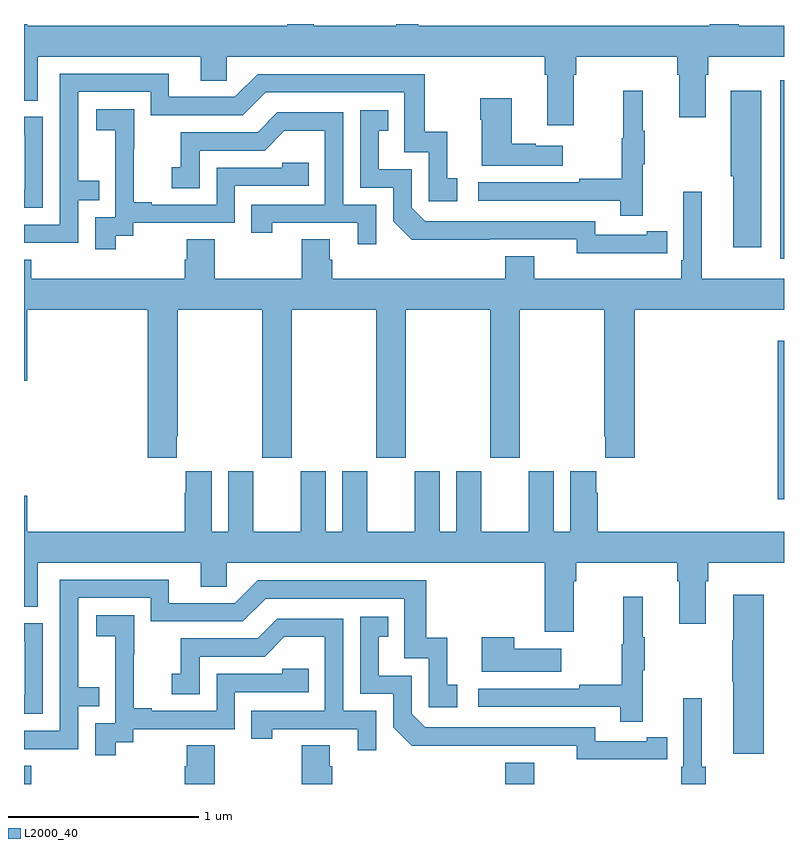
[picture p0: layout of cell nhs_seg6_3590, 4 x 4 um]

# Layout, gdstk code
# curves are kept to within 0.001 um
import gdstk
lib = gdstk.Library(unit=1e-6, precision=1e-09)
def R(c, l, rs):  # rectangles x0, y0, x1, y1
    for r in rs: c.add(gdstk.rectangle(r[:2], r[2:], *l))
def P(c, l, *ps):  # polygons
    for p in ps: c.add(gdstk.Polygon(p, *l))
L2000_40 = (2000, 40)

nhs_seg6_3590 = lib.new_cell('nhs_seg6_3590')
R(nhs_seg6_3590, L2000_40, [(321,951.5,321.038,951.595), (323.534,951.5,323.686,951.613), (324.968,952.998,325,953.833), (324.98,954.264,325,955.204)])
P(nhs_seg6_3590, L2000_40, [(323.893,955.232),(323.906,955.232),(323.906,955.328),(324.437,955.328),(324.437,955.232),(324.449,955.232),(324.449,955.008),(324.589,955.008),(324.589,955.232),(324.602,955.232),(324.602,955.328),(325,955.328),(325,955.492),(324.761,955.492),(324.761,955.5),(324.608,955.5),(324.608,955.492),(323.075,955.492),(323.075,955.5),(322.959,955.5),(322.959,955.492),(322.525,955.492),(322.525,955.5),(322.385,955.5),(322.385,955.492),(321.016,955.492),(321.016,955.5),(321,955.5),(321,955.096),(321.073,955.096),(321.073,955.328),(321.929,955.328),(321.929,955.201),(322.068,955.201),(322.068,955.328),(323.741,955.328),(323.741,955.232),(323.753,955.232),(323.753,954.966),(323.893,954.966)],
  [(321.285,954.573),(321.395,954.573),(321.395,954.674),(321.285,954.674),(321.285,955.143),(321.666,955.143),(321.666,955.02),(322.152,955.02),(322.272,955.14),(323.001,955.14),(323.001,954.825),(323.13,954.825),(323.13,954.567),(323.281,954.567),(323.281,954.687),(323.228,954.687),(323.228,954.934),(323.11,954.934),(323.11,955.236),(322.23,955.236),(322.11,955.116),(321.763,955.116),(321.763,955.239),(321.189,955.239),(321.189,954.444),(321,954.444),(321,954.348),(321.285,954.348)],
  [(324.257,954.763),(324.268,954.763),(324.268,954.937),(324.257,954.937),(324.257,955.15),(324.154,955.15),(324.154,954.9),(324.147,954.9),(324.147,954.686),(323.923,954.686),(323.923,954.666),(323.391,954.666),(323.391,954.57),(324.139,954.57),(324.139,954.492),(324.257,954.492)],
  [(324.88,955.15),(324.719,955.15),(324.719,954.698),(324.734,954.698),(324.734,954.324),(324.88,954.324)],
  [(323.836,954.859),(323.693,954.859),(323.693,954.869),(323.566,954.869),(323.566,955.108),(323.401,955.108),(323.401,954.995),(323.408,954.995),(323.408,954.755),(323.836,954.755)],
  [(321.484,954.385),(321.576,954.385),(321.576,954.453),(322.11,954.453),(322.11,954.648),(322.499,954.648),(322.499,954.771),(322.359,954.771),(322.359,954.744),(322.014,954.744),(322.014,954.549),(321.673,954.549),(321.673,954.562),(321.578,954.562),(321.578,954.845),(321.579,954.845),(321.579,955.051),(321.381,955.051),(321.381,954.941),(321.479,954.941),(321.479,954.713),(321.48,954.713),(321.48,954.483),(321.375,954.483),(321.375,954.315),(321.484,954.315)],
  [(324.278,954.294),(324.386,954.294),(324.386,954.41),(324.278,954.41),(324.278,954.39),(324.006,954.39),(324.006,954.462),(323.112,954.462),(323.04,954.534),(323.04,954.735),(322.867,954.735),(322.867,954.939),(322.916,954.939),(322.916,955.045),(322.77,955.045),(322.77,954.639),(322.944,954.639),(322.944,954.462),(323.042,954.365),(323.91,954.366),(323.91,954.293)],
  [(322.854,954.549),(322.68,954.549),(322.68,955.035),(322.334,955.035),(322.229,954.93),(321.826,954.93),(321.826,954.745),(321.777,954.745),(321.777,954.636),(321.924,954.636),(321.924,954.834),(322.266,954.834),(322.37,954.938),(322.584,954.938),(322.584,954.549),(322.195,954.549),(322.195,954.402),(322.306,954.402),(322.306,954.453),(322.757,954.453),(322.757,954.342),(322.854,954.342)],
  [(321.099,955.011),(321,955.011),(321,954.915),(321.003,954.915),(321.003,954.63),(321,954.63),(321,954.534),(321.099,954.534)],
  [(321.805,953.329),(321.81,953.329),(321.81,953.996),(322.255,953.996),(322.255,953.217),(322.41,953.217),(322.41,953.996),(322.855,953.996),(322.855,953.217),(323.01,953.217),(323.01,953.996),(323.455,953.996),(323.455,953.217),(323.61,953.217),(323.61,953.996),(324.055,953.996),(324.055,953.329),(324.059,953.329),(324.059,953.217),(324.215,953.217),(324.215,953.996),(325,953.996),(325,954.16),(324.568,954.16),(324.568,954.616),(324.471,954.616),(324.471,954.256),(324.458,954.256),(324.458,954.16),(323.686,954.16),(323.686,954.277),(323.534,954.277),(323.534,954.16),(322.622,954.16),(322.622,954.258),(322.609,954.258),(322.609,954.368),(322.462,954.368),(322.462,954.16),(322.005,954.16),(322.005,954.368),(321.857,954.368),(321.857,954.258),(321.845,954.258),(321.845,954.16),(321.038,954.16),(321.038,954.259),(321,954.259),(321,953.622),(321.016,953.622),(321.016,953.996),(321.65,953.996),(321.65,953.217),(321.805,953.217)],
  [(323.893,952.568),(323.906,952.568),(323.906,952.664),(324.437,952.664),(324.437,952.568),(324.449,952.568),(324.449,952.344),(324.589,952.344),(324.589,952.568),(324.602,952.568),(324.602,952.664),(325,952.664),(325,952.828),(324.02,952.828),(324.02,953.033),(324.013,953.033),(324.013,953.146),(323.876,953.146),(323.876,952.828),(323.788,952.828),(323.788,953.146),(323.657,953.146),(323.657,952.828),(323.407,952.828),(323.407,953.146),(323.276,953.146),(323.276,952.828),(323.188,952.828),(323.188,953.146),(323.057,953.146),(323.057,952.828),(322.807,952.828),(322.807,953.146),(322.676,953.146),(322.676,952.828),(322.588,952.828),(322.588,953.146),(322.457,953.146),(322.457,952.828),(322.207,952.828),(322.207,953.146),(322.076,953.146),(322.076,952.828),(321.988,952.828),(321.988,953.146),(321.851,953.146),(321.851,953.033),(321.845,953.033),(321.845,952.828),(321.016,952.828),(321.016,953.017),(321,953.017),(321,952.432),(321.073,952.432),(321.073,952.664),(321.929,952.664),(321.929,952.537),(322.068,952.537),(322.068,952.664),(323.741,952.664),(323.741,952.302),(323.893,952.302)],
  [(321.285,951.909),(321.395,951.909),(321.395,952.01),(321.285,952.01),(321.285,952.479),(321.666,952.479),(321.666,952.356),(322.152,952.356),(322.272,952.476),(323.001,952.476),(323.001,952.161),(323.13,952.161),(323.13,951.903),(323.281,951.903),(323.281,952.023),(323.228,952.023),(323.228,952.27),(323.117,952.27),(323.117,952.572),(322.23,952.572),(322.11,952.452),(321.763,952.452),(321.763,952.575),(321.189,952.575),(321.189,951.78),(321,951.78),(321,951.684),(321.285,951.684)],
  [(324.893,952.495),(324.734,952.495),(324.734,952.256),(324.727,952.256),(324.727,952.039),(324.734,952.039),(324.734,951.66),(324.893,951.66)],
  [(324.257,952.099),(324.268,952.099),(324.268,952.273),(324.257,952.273),(324.257,952.486),(324.154,952.486),(324.154,952.236),(324.147,952.236),(324.147,952.022),(323.923,952.022),(323.923,952.002),(323.391,952.002),(323.391,951.906),(324.139,951.906),(324.139,951.828),(324.257,951.828)],
  [(321.484,951.721),(321.576,951.721),(321.576,951.789),(322.11,951.789),(322.11,951.984),(322.499,951.984),(322.499,952.107),(322.359,952.107),(322.359,952.08),(322.014,952.08),(322.014,951.885),(321.673,951.885),(321.673,951.898),(321.578,951.898),(321.578,952.181),(321.579,952.181),(321.579,952.387),(321.381,952.387),(321.381,952.277),(321.479,952.277),(321.479,952.049),(321.48,952.049),(321.48,951.819),(321.375,951.819),(321.375,951.651),(321.484,951.651)],
  [(324.278,951.63),(324.386,951.63),(324.386,951.746),(324.278,951.746),(324.278,951.726),(324.006,951.726),(324.006,951.798),(323.112,951.798),(323.04,951.87),(323.04,952.071),(322.867,952.071),(322.867,952.275),(322.916,952.275),(322.916,952.381),(322.77,952.381),(322.77,951.975),(322.944,951.975),(322.944,951.798),(323.042,951.701),(323.91,951.702),(323.91,951.629)],
  [(322.854,951.885),(322.68,951.885),(322.68,952.371),(322.334,952.371),(322.229,952.266),(321.826,952.266),(321.826,952.081),(321.777,952.081),(321.777,951.972),(321.924,951.972),(321.924,952.17),(322.266,952.17),(322.37,952.274),(322.584,952.274),(322.584,951.885),(322.195,951.885),(322.195,951.738),(322.306,951.738),(322.306,951.789),(322.757,951.789),(322.757,951.678),(322.854,951.678)],
  [(321.099,952.347),(321,952.347),(321,952.251),(321.003,952.251),(321.003,951.966),(321,951.966),(321,951.87),(321.099,951.87)],
  [(323.827,952.213),(323.579,952.213),(323.579,952.273),(323.408,952.273),(323.408,952.091),(323.827,952.091)],
  [(324.587,951.592),(324.568,951.592),(324.568,951.952),(324.471,951.952),(324.471,951.592),(324.458,951.592),(324.458,951.5),(324.587,951.5)],
  [(322.622,951.594),(322.609,951.594),(322.609,951.704),(322.462,951.704),(322.462,951.5),(322.622,951.5)],
  [(322.005,951.704),(321.857,951.704),(321.857,951.594),(321.845,951.594),(321.845,951.5),(322.005,951.5)])

lib.write_gds('nhs_seg6_3590.gds')
